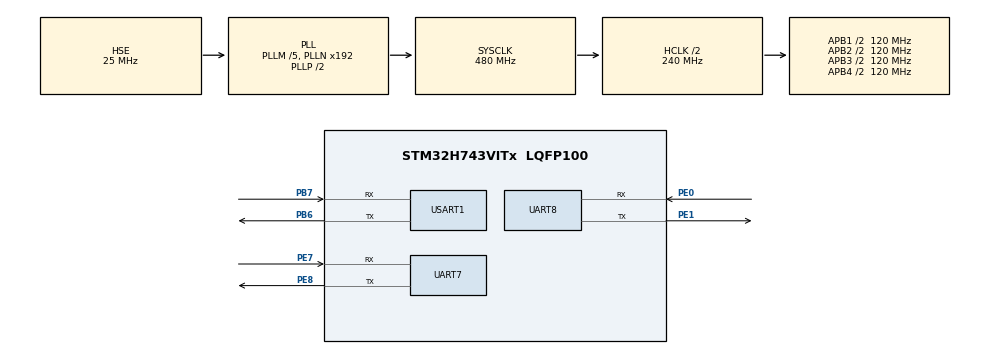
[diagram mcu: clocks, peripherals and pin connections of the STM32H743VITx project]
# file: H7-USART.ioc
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CORTEX_M7.default_mode_Activation=0
Dma.Request0=USART1_TX
Dma.Request1=UART7_RX
Dma.Request2=USART1_RX
Dma.UART7_RX.1.Direction=DMA_PERIPH_TO_MEMORY
Dma.UART7_RX.1.EventEnable=DISABLE
Dma.UART7_RX.1.FIFOMode=DMA_FIFOMODE_DISABLE
Dma.UART7_RX.1.Instance=DMA1_Stream2
Dma.UART7_RX.1.MemDataAlignment=DMA_MDATAALIGN_BYTE
Dma.UART7_RX.1.MemInc=DMA_MINC_ENABLE
Dma.UART7_RX.1.Mode=DMA_NORMAL
Dma.UART7_RX.1.PeriphDataAlignment=DMA_PDATAALIGN_BYTE
Dma.UART7_RX.1.PeriphInc=DMA_PINC_DISABLE
Dma.UART7_RX.1.Polarity=HAL_DMAMUX_REQ_GEN_RISING
Dma.UART7_RX.1.Priority=DMA_PRIORITY_LOW
Dma.UART7_RX.1.RequestNumber=1
Dma.UART7_RX.1.SignalID=NONE
Dma.UART7_RX.1.SyncEnable=DISABLE
Dma.UART7_RX.1.SyncPolarity=HAL_DMAMUX_SYNC_NO_EVENT
Dma.UART7_RX.1.SyncRequestNumber=1
Dma.UART7_RX.1.SyncSignalID=NONE
Dma.USART1_RX.2.Direction=DMA_PERIPH_TO_MEMORY
Dma.USART1_RX.2.EventEnable=DISABLE
Dma.USART1_RX.2.FIFOMode=DMA_FIFOMODE_ENABLE
Dma.USART1_RX.2.FIFOThreshold=DMA_FIFO_THRESHOLD_FULL
Dma.USART1_RX.2.Instance=DMA1_Stream0
Dma.USART1_RX.2.MemBurst=DMA_MBURST_SINGLE
Dma.USART1_RX.2.MemDataAlignment=DMA_MDATAALIGN_BYTE
Dma.USART1_RX.2.MemInc=DMA_MINC_ENABLE
Dma.USART1_RX.2.Mode=DMA_NORMAL
Dma.USART1_RX.2.PeriphBurst=DMA_PBURST_SINGLE
Dma.USART1_RX.2.PeriphDataAlignment=DMA_PDATAALIGN_BYTE
Dma.USART1_RX.2.PeriphInc=DMA_PINC_DISABLE
Dma.USART1_RX.2.Polarity=HAL_DMAMUX_REQ_GEN_RISING
Dma.USART1_RX.2.Priority=DMA_PRIORITY_LOW
Dma.USART1_RX.2.RequestNumber=1
Dma.USART1_RX.2.SignalID=NONE
Dma.USART1_RX.2.SyncEnable=DISABLE
Dma.USART1_RX.2.SyncPolarity=HAL_DMAMUX_SYNC_NO_EVENT
Dma.USART1_RX.2.SyncRequestNumber=1
Dma.USART1_RX.2.SyncSignalID=NONE
Dma.USART1_TX.0.Direction=DMA_MEMORY_TO_PERIPH
Dma.USART1_TX.0.EventEnable=DISABLE
Dma.USART1_TX.0.FIFOMode=DMA_FIFOMODE_DISABLE
Dma.USART1_TX.0.Instance=DMA1_Stream1
Dma.USART1_TX.0.MemDataAlignment=DMA_MDATAALIGN_BYTE
Dma.USART1_TX.0.MemInc=DMA_MINC_ENABLE
Dma.USART1_TX.0.Mode=DMA_NORMAL
Dma.USART1_TX.0.PeriphDataAlignment=DMA_PDATAALIGN_BYTE
Dma.USART1_TX.0.PeriphInc=DMA_PINC_DISABLE
Dma.USART1_TX.0.Polarity=HAL_DMAMUX_REQ_GEN_RISING
Dma.USART1_TX.0.Priority=DMA_PRIORITY_LOW
Dma.USART1_TX.0.RequestNumber=1
Dma.USART1_TX.0.SignalID=NONE
Dma.USART1_TX.0.SyncEnable=DISABLE
Dma.USART1_TX.0.SyncPolarity=HAL_DMAMUX_SYNC_NO_EVENT
Dma.USART1_TX.0.SyncRequestNumber=1
Dma.USART1_TX.0.SyncSignalID=NONE
Mcu.Family=STM32H7
Mcu.Name=STM32H743VITx
Mcu.Package=LQFP100
NVIC.DMA1_Stream0_IRQn=true\:0\:0\:false\:false\:true\:false\:true\:true
NVIC.DMA1_Stream1_IRQn=true\:0\:0\:false\:false\:true\:false\:true\:true
NVIC.DMA1_Stream2_IRQn=true\:0\:0\:false\:false\:true\:false\:true\:true
NVIC.PriorityGroup=NVIC_PRIORITYGROUP_4
NVIC.UART7_IRQn=true\:0\:0\:true\:false\:true\:true\:true\:true
NVIC.USART1_IRQn=true\:3\:0\:true\:false\:true\:true\:true\:true
PA13\ (JTMS/SWDIO).Mode=Serial_Wire
PA13\ (JTMS/SWDIO).Signal=DEBUG_JTMS-SWDIO
PA14\ (JTCK/SWCLK).Mode=Serial_Wire
PA14\ (JTCK/SWCLK).Signal=DEBUG_JTCK-SWCLK
PB6.Mode=Asynchronous
PB6.Signal=USART1_TX
PB7.Mode=Asynchronous
PB7.Signal=USART1_RX
PE0.Mode=Asynchronous
PE0.Signal=UART8_RX
PE1.Mode=Asynchronous
PE1.Signal=UART8_TX
PE7.Mode=Asynchronous
PE7.Signal=UART7_RX
PE8.Mode=Asynchronous
PE8.Signal=UART7_TX
PH0-OSC_IN\ (PH0).Mode=HSE-External-Oscillator
PH0-OSC_IN\ (PH0).Signal=RCC_OSC_IN
PH1-OSC_OUT\ (PH1).Mode=HSE-External-Oscillator
PH1-OSC_OUT\ (PH1).Signal=RCC_OSC_OUT
ProjectManager.HeapSize=0x2000
ProjectManager.StackSize=0x20000
ProjectManager.TargetToolchain=MDK-ARM V5.32
RCC.ADCFreq_Value=50390625
RCC.APB1Freq_Value=120000000
RCC.APB2Freq_Value=120000000
RCC.APB3Freq_Value=120000000
RCC.APB4Freq_Value=120000000
RCC.CortexFreq_Value=480000000
RCC.D1PPRE=RCC_APB3_DIV2
RCC.D2PPRE1=RCC_APB1_DIV2
RCC.D2PPRE2=RCC_APB2_DIV2
RCC.D3PPRE=RCC_APB4_DIV2
RCC.DIVM1=5
RCC.DIVN1=192
RCC.HCLKFreq_Value=240000000
RCC.HPRE=RCC_HCLK_DIV2
RCC.PLL2FRACN=0
RCC.PLL3FRACN=0
RCC.PLLFRACN=0
RCC.PLLSourceVirtual=RCC_PLLSOURCE_HSE
RCC.SYSCLKFreq_VALUE=480000000
RCC.SYSCLKSource=RCC_SYSCLKSOURCE_PLLCLK
RCC.USBFreq_Value=480000000
USART1.VirtualMode-Asynchronous=VM_ASYNC
VP_MEMORYMAP_VS_MEMORYMAP.Mode=CurAppReg
board=custom

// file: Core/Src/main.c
/* USER CODE BEGIN Header */
/**
  ******************************************************************************
  * @file           : main.c
  * @brief          : Main program body
  ******************************************************************************
  * @attention
  *
  * Copyright (c) 2025 STMicroelectronics.
  * All rights reserved.
  *
  * This software is licensed under terms that can be found in the LICENSE file
  * in the root directory of this software component.
  * If no LICENSE file comes with this software, it is provided AS-IS.
  *
  ******************************************************************************
  */
/* USER CODE END Header */
#include "main.h"
#include "dma.h"
#include "memorymap.h"
#include "usart.h"
#include "gpio.h"

/* USER CODE BEGIN Includes */
#include "stdio.h"
#include "BSP_USART.h"
#include "BSP_JUDGE.h"
#include "BSP_CONTROL.h"
#include "BSP_FIR.h"
/* USER CODE END Includes */

/* USER CODE BEGIN PD */
#define step 100
/* USER CODE END PD */

/* USER CODE BEGIN PV */
uint8_t dataReady=0;
SystemState currentState = STATE_IDLE;
uint16_t freq_update =1000;
double amplitude_1;
volatile uint8_t learningComplete = 0;  // 学习完成标志
uint16_t currentFreq =100;
uint8_t Saopin = 0;
/* USER CODE END PV */

void SystemClock_Config(void);
/* USER CODE BEGIN PFP */
void handle_learning_state();
/* USER CODE END PFP */

int main(void)
{

  /* MCU Configuration--------------------------------------------------------*/

  /* Reset of all peripherals, Initializes the Flash interface and the Systick. */
  HAL_Init();

  /* Configure the system clock */
  SystemClock_Config();

  /* Initialize all configured peripherals */
  MX_GPIO_Init();
  MX_DMA_Init();
  MX_USART1_UART_Init();
  MX_UART8_Init();
  MX_UART7_Init();
  /* USER CODE BEGIN 2 */
//	printf("HELLOWORLD! \r\n");

//    uint8_t type=0x01;
//    uint8_t channel=0x00;
//    uint8_t wave_type=0x00;
//    transfer40(txValue, txBuffer);
//初始化vpp=1
    build_packet(0x01,  0x00,  0x00,0,1000,  txBuffer) ;
    build_packet(0x00,  0x00,  0x00,0.5,0,  contlV);
    HAL_UART_Transmit(&huart1, contlV, sizeof(contlV), 100);
 HAL_UART_Transmit_DMA(&huart1, txBuffer, sizeof(txBuffer));

		   HAL_UART_Transmit(&huart1, txBuffer, sizeof(txBuffer), 100);
// 开启串口屏接收等待数据
    HAL_UART_Receive_DMA(&huart7, H7Buffer,sizeof(H7Buffer));  // 启用中断接收

		while(!dataReady)
        ;
// 55 00 设置频率  55 01 设置vpp
    process_H7_command(H7Buffer[0], H7Buffer, &freq_update, txBuffer, &contlV) ;

  /* USER CODE END 2 */

  /* Infinite loop */
  /* USER CODE BEGIN WHILE */
    while (1)
    {
			HAL_UART_Receive_DMA(&huart7, H7Buffer, sizeof(H7Buffer));
        while(!dataReady)
            ;

        process_H7_command(H7Buffer[0], H7Buffer, contlV, txBuffer, &txValue);
        switch(currentState) {
        case STATE_SET_FREQ: {
            freq_update=hex_to_decimal(H7Buffer);
            build_packet(0x01, 0x00, 0x00,0,freq_update,txBuffer);
            HAL_UART_Transmit_DMA(&huart1, txBuffer, sizeof(txBuffer));
            dataReady=0;
            HAL_UART_Receive_DMA(&huart7, H7Buffer,sizeof(H7Buffer));
            currentState = STATE_IDLE;

            break;
        }
        case STATE_SET_AMPLITUDE: {
            amplitude_1 = calculate_input_pp((double)freq_update, 0.001f * hex_to_decimal(H7Buffer))/2;
            build_packet(0x00, 0x00, 0x00, amplitude_1,0, contlV);
            HAL_UART_Transmit_DMA(&huart1, contlV, sizeof(contlV));
            currentState = STATE_IDLE;
            dataReady=0;
            HAL_UART_Receive_DMA(&huart7, H7Buffer,sizeof(H7Buffer));
					  currentState = STATE_IDLE;
            break;
        }
case STATE_LEARNING: {
    static uint8_t learningPhase = 0; // 0=采集阶段, 1=处理阶段

    if (learningPhase == 0) {
						Saopin = 1;
			        build_packet(0x01, 0x00, 0x00, 0,txValue, txBuffer);
        HAL_UART_Transmit_DMA(&huart1, txBuffer, sizeof(txBuffer));

			    while(!dmaComplete)
							;
						{

//        if (dmaComplete == 1) {
            // 解析并存储当前数据点
            dataStorage[storageIndex].integer = (rxBuffer[2] << 16) | (rxBuffer[3] << 8) | rxBuffer[4];
            dataStorage[storageIndex].fraction = (rxBuffer[5] << 8) | rxBuffer[6];
            volt[storageIndex] = dataStorage[storageIndex].integer + (dataStorage[storageIndex].fraction / 65536.0f);

            // 更新频率和索引
            storageIndex++;
            txValue += 100;
            dmaComplete = 0;
        // 发送下一个频率点
        build_packet(0x01, 0x00, 0x00, 0,txValue, txBuffer);
        HAL_UART_Transmit_DMA(&huart1, txBuffer, sizeof(txBuffer));
            // 检查是否完成采集
            if (txValue > 250000 | storageIndex >= DATA_POINTS) {
                learningPhase = 1; // 进入处理阶段
							Saopin = 0;
                txValue = 100; // 重置频率
                storageIndex = 0; // 重置索引
            }
        }

    }
    else {
        // 数据处理阶段
			           				for(uint16_t i=0;i<DATA_POINTS;i++){
            					printf("%.2f\n",volt[i]);
          				}
													for (uint16_t i=0;i<DATA_POINTS;i=i+1){
	     freq[i] = 100 + (i*100);
}
        combine_to_struct(freq, volt, DATA_POINTS, responses);
        const char* filterType = determine_filter_type(responses, DATA_POINTS);
        printf("page0.t7.txt=\"%s\"\xff\xff\xff", filterType);

// uint16_t freq[DATA_POINTS] = {0};
//	for (uint16_t i=0;i<DATA_POINTS;i++){
//	freq[i]=100+i*100;
//}
//    for (int i = 0; i < DATA_POINTS; i++) {
//        responses[i].freq = freq[i];
//        responses[i].gain = volt[i];
//    }
//		    compute_fir_coeffs(
//        responses, 299, Fs, N, HANNING, L, h_coeffs
//    );

//     send_fir_coefficients(fir_coeff, 0x00);

        // 重置状态

        learningPhase = 0;
        currentState = STATE_IDLE;
				dataReady = 0;
				HAL_UART_Receive_DMA(&huart7, H7Buffer, sizeof(H7Buffer));

    }
    break;
}

//        case STATE_LEARNING: {
//					handle_learning_state();
//            handle_sweep_mode(&dmaComplete, &sweepend, dataStorage, volt,
//                 &txValue,  &storageIndex, txBuffer, rxBuffer, &huart1); // 扫频处理函数
//	   build_packet(0x01,  0x00,  0x00,
//                 txValue,  txBuffer) ;
//	 HAL_UART_Transmit_DMA(&huart1, txBuffer, sizeof(txBuffer));
//   if(dmaComplete ==1){
//
//
//          // 解析当前数据点
//          dataStorage[storageIndex].integer = (rxBuffer[1] << 16) |
//                                             (rxBuffer[2] << 8) |
//                                             rxBuffer[3];
//          dataStorage[storageIndex].fraction = (rxBuffer[4] << 8) | rxBuffer[5];
//
//          // 转换为浮点数
//          volt[storageIndex] = dataStorage[storageIndex].integer +
//                              (dataStorage[storageIndex].fraction / 65536.0f);
//
//

//          // 更新索引和频率值
////				delay_us(10000);
//          storageIndex++;
//          txValue += step;
//
//
//          // 完成一轮扫描
//          if(txValue >= 10+ 598*100 | storageIndex >= DATA_POINTS) {
//              txValue = 100;
//              storageIndex = 0;
//              dataReady = 1;  // 标记数据就绪
//						  dmaComplete = 0;
////						currentState = STATE_LEARNING;
//          }
//
//          // 发送下一个频率
//          build_packet(0x01, 0x00, 0x00, txValue, txBuffer);
//          HAL_UART_Transmit_DMA(&huart1, txBuffer, sizeof(txBuffer));
//				}
//            //          				//以下发送用于波形显示调试
//            //				for(uint16_t i=0;i<DATA_POINTS;i++){
//            //					printf("%.2f\n",volt[i]);
//            //				}
//				if(dataReady==1){
//            combine_to_struct(freq, volt, DATA_POINTS, responses);
//            const char* filterType = determine_filter_type(responses, DATA_POINTS);
//            // 以下用于调试时打印到串口8
//            //             printf("Filter type: %s\n", filterType);
//            // 以下用于发送给串口屏
//            printf("t7.txt=\"%s\"\xff\xff\xff",filterType);
//            // 计算并给fpga发送滤波器系数

//    compute_fir_coeffs(
//        responses, point_num, Fs, N, HAMMING, L, h_coeffs
//    );
//     send_fir_coefficients(fir_coeff, 0x00);
////				}
//            dataReady=0;
//            HAL_UART_Receive_DMA(&huart7, H7Buffer,sizeof(H7Buffer));
//            currentState = STATE_IDLE;
//            break;
//        }
        case TRANS_FPGA: {
            build_packet(0x02,  0x00,  0x01,0,0,  txBuffer);
            HAL_UART_Transmit_DMA(&huart1, txBuffer, sizeof(txBuffer));
            dataReady=0;
            HAL_UART_Receive_DMA(&huart7, H7Buffer,sizeof(H7Buffer));
					  currentState = STATE_IDLE;
            break;
        }
        case STATE_IDLE:
            dataReady=0;
            HAL_UART_Receive_DMA(&huart7, H7Buffer,sizeof(H7Buffer));

            break;
        }

//已有幅频特性曲线如何判断滤波器类型
//并计算FIR系数

////		char test1[]="hello world!";
////		HAL_UART_Transmit(&huart1,(uint8_t*)test1,sizeof(test1),HAL_MAX_DELAY);
//		printf("HELLOWORLD! \r\n");
    /* USER CODE END WHILE */

    }
}

void SystemClock_Config(void)
{
  RCC_OscInitTypeDef RCC_OscInitStruct = {0};
  RCC_ClkInitTypeDef RCC_ClkInitStruct = {0};

  /** Supply configuration update enable
  */
  HAL_PWREx_ConfigSupply(PWR_LDO_SUPPLY);

  /** Configure the main internal regulator output voltage
  */
  __HAL_PWR_VOLTAGESCALING_CONFIG(PWR_REGULATOR_VOLTAGE_SCALE0);

  while(!__HAL_PWR_GET_FLAG(PWR_FLAG_VOSRDY)) {}

  /** Initializes the RCC Oscillators according to the specified parameters
  * in the RCC_OscInitTypeDef structure.
  */
  RCC_OscInitStruct.OscillatorType = RCC_OSCILLATORTYPE_HSE;
  RCC_OscInitStruct.HSEState = RCC_HSE_ON;
  RCC_OscInitStruct.PLL.PLLState = RCC_PLL_ON;
  RCC_OscInitStruct.PLL.PLLSource = RCC_PLLSOURCE_HSE;
  RCC_OscInitStruct.PLL.PLLM = 5;
  RCC_OscInitStruct.PLL.PLLN = 192;
  RCC_OscInitStruct.PLL.PLLP = 2;
  RCC_OscInitStruct.PLL.PLLQ = 2;
  RCC_OscInitStruct.PLL.PLLR = 2;
  RCC_OscInitStruct.PLL.PLLRGE = RCC_PLL1VCIRANGE_2;
  RCC_OscInitStruct.PLL.PLLVCOSEL = RCC_PLL1VCOWIDE;
  RCC_OscInitStruct.PLL.PLLFRACN = 0;
  if (HAL_RCC_OscConfig(&RCC_OscInitStruct) != HAL_OK)
  {
    Error_Handler();
  }

  /** Initializes the CPU, AHB and APB buses clocks
  */
  RCC_ClkInitStruct.ClockType = RCC_CLOCKTYPE_HCLK|RCC_CLOCKTYPE_SYSCLK
                              |RCC_CLOCKTYPE_PCLK1|RCC_CLOCKTYPE_PCLK2
                              |RCC_CLOCKTYPE_D3PCLK1|RCC_CLOCKTYPE_D1PCLK1;
  RCC_ClkInitStruct.SYSCLKSource = RCC_SYSCLKSOURCE_PLLCLK;
  RCC_ClkInitStruct.SYSCLKDivider = RCC_SYSCLK_DIV1;
  RCC_ClkInitStruct.AHBCLKDivider = RCC_HCLK_DIV2;
  RCC_ClkInitStruct.APB3CLKDivider = RCC_APB3_DIV2;
  RCC_ClkInitStruct.APB1CLKDivider = RCC_APB1_DIV2;
  RCC_ClkInitStruct.APB2CLKDivider = RCC_APB2_DIV2;
  RCC_ClkInitStruct.APB4CLKDivider = RCC_APB4_DIV2;

  if (HAL_RCC_ClockConfig(&RCC_ClkInitStruct, FLASH_LATENCY_4) != HAL_OK)
  {
    Error_Handler();
  }
}

/* USER CODE BEGIN 4 */
void handle_learning_state() {
	 build_packet(0x01,  0x00,  0x00,0.5,
                 txValue,  txBuffer) ;
	 HAL_UART_Transmit_DMA(&huart1, txBuffer, sizeof(txBuffer));
    /* 数据采集阶段 */
    if (!learningComplete) {
        if(dmaComplete == 1) {
            // 解析并存储当前数据点
            dataStorage[storageIndex].integer = (rxBuffer[1] << 16) | (rxBuffer[2] << 8) | rxBuffer[3];
            dataStorage[storageIndex].fraction = (rxBuffer[4] << 8) | rxBuffer[5];
            volt[storageIndex] = dataStorage[storageIndex].integer + (dataStorage[storageIndex].fraction / 65536.0f);

            // 更新频率和索引
            storageIndex++;
            currentFreq += 100;
            dmaComplete = 0;  // 重置完成标志

            // 检查是否完成所有频率点采集
            if(currentFreq > 60000 || storageIndex >= DATA_POINTS) {
                learningComplete = 1;  // 标记学习完成
                storageIndex = 0;      // 重置索引
                currentFreq = 100;
            }
        }

        // 发送下一个频率点（如果未完成）
        if (!learningComplete) {
            build_packet(0x01, 0x00, 0x00, 0,currentFreq, txBuffer);
            HAL_UART_Transmit_DMA(&huart1, txBuffer, sizeof(txBuffer));
        }
    }
    /* 数据处理阶段 */
    else {
        // 组合频率响应数据
        combine_to_struct(freq, volt, DATA_POINTS, responses);

        // 确定滤波器类型并显示
        const char* filterType = determine_filter_type(responses, DATA_POINTS);
        printf("t7.txt=\"%s\"\xff\xff\xff", filterType);

        // 生成并发送滤波器系数
        // (这里需要实现实际的滤波器设计函数)
//        FIRFilter fir = design_filter(responses, DATA_POINTS);
//        send_fir_coefficients(fir.coeffs, fir.order);
        compute_fir_coeffs(
        responses, point_num, Fs, N, HAMMING, L, h_coeffs
    );
     send_fir_coefficients(fir_coeff, 0x00);
        // 重置状态
        learningComplete = 0;
        currentState = STATE_IDLE;
			  dataReady = 0;
        HAL_UART_Receive_DMA(&huart7, H7Buffer, sizeof(H7Buffer));
    }
}

void delay_us(uint32_t n)
{
    uint32_t ticks;
    uint32_t told;
    uint32_t tnow;
    uint32_t tcnt = 0;
    uint32_t reload;

    reload = SysTick->LOAD;
    ticks = n * (SystemCoreClock / 1000000);	 /* 需要的节拍数 */

    tcnt = 0;
    told = SysTick->VAL;             /* 刚进入时的计数器值 */

    while (1)
    {
        tnow = SysTick->VAL;
        if (tnow != told)
        {
            /* SYSTICK是一个递减的计数器 */
            if (tnow < told)
            {
                tcnt += told - tnow;
            }
            /* 重新装载递减 */
            else
            {
                tcnt += reload - tnow + told;
            }
            told = tnow;

            /* 时间超过/等于要延迟的时间,则退出 */
            if (tcnt >= ticks)
            {
                break;
            }
        }
    }
}
/* USER CODE END 4 */

void Error_Handler(void)
{
    __disable_irq();
    while (1)
    {
    }
}
